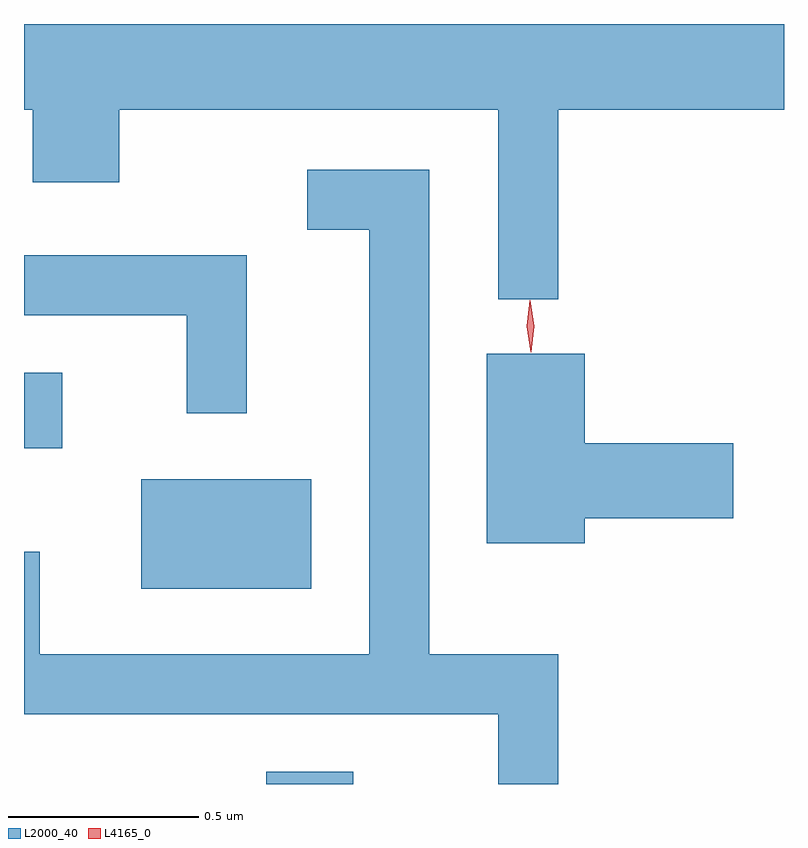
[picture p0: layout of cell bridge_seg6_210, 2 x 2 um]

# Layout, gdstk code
import gdstk
lib = gdstk.Library(unit=1e-6, precision=1e-09)
def R(c, l, rs):  # rectangles x0, y0, x1, y1
    for r in rs: c.add(gdstk.rectangle(r[:2], r[2:], *l))
def P(c, l, *ps):  # polygons
    for p in ps: c.add(gdstk.Polygon(p, *l))
L2000_40 = (2000, 40)
L4165_0 = (4165, 0)

bridge_seg6_210 = lib.new_cell('bridge_seg6_210')
R(bridge_seg6_210, L2000_40, [(1022.006,1597.102,1022.234,1597.134), (1021.676,1597.616,1022.124,1597.904), (1021.368,1597.986,1021.469,1598.184)])
P(bridge_seg6_210, L2000_40, [(1021.368,1598.876),(1021.391,1598.876),(1021.391,1598.686),(1021.619,1598.686),(1021.619,1598.876),(1022.616,1598.876),(1022.616,1598.378),(1022.774,1598.378),(1022.774,1598.876),(1023.368,1598.876),(1023.368,1599.102),(1021.368,1599.102)],
  [(1022.774,1597.444),(1022.434,1597.444),(1022.434,1598.719),(1022.113,1598.719),(1022.113,1598.561),(1022.276,1598.561),(1022.276,1597.444),(1021.409,1597.444),(1021.409,1597.713),(1021.368,1597.713),(1021.368,1597.286),(1022.616,1597.286),(1022.616,1597.102),(1022.774,1597.102)],
  [(1021.954,1598.494),(1021.368,1598.494),(1021.368,1598.336),(1021.796,1598.336),(1021.796,1598.078),(1021.954,1598.078)],
  [(1022.844,1597.801),(1023.234,1597.801),(1023.234,1597.999),(1022.844,1597.999),(1022.844,1598.234),(1022.586,1598.234),(1022.586,1597.736),(1022.844,1597.736)])
P(bridge_seg6_210, L4165_0, [(1022.702,1598.238),(1022.702,1598.238),(1022.691,1598.306),(1022.699,1598.375),(1022.7,1598.375),(1022.7,1598.375),(1022.711,1598.307),(1022.703,1598.238)],
  [(1022.702,1598.24),(1022.702,1598.241),(1022.691,1598.306),(1022.699,1598.371),(1022.7,1598.372),(1022.7,1598.371),(1022.711,1598.306),(1022.703,1598.241)])

lib.write_gds('bridge_seg6_210.gds')
